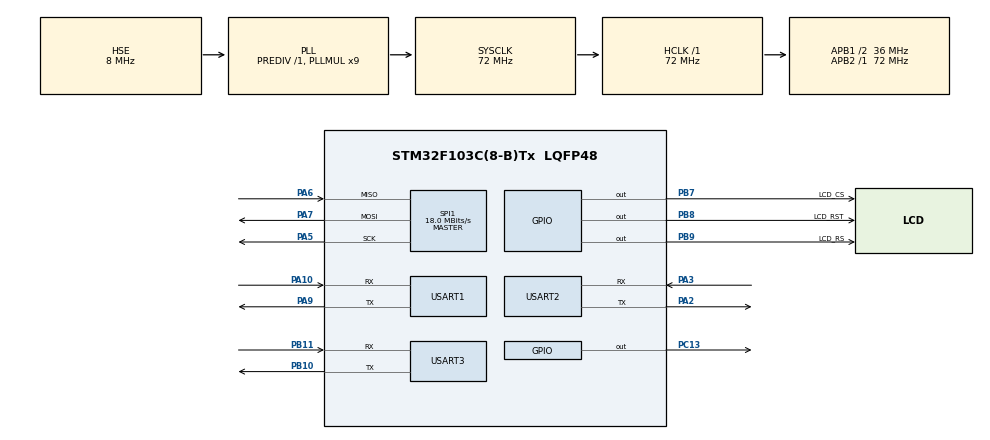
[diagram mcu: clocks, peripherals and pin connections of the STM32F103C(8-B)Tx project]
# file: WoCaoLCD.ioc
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Mcu.Family=STM32F1
Mcu.Name=STM32F103C(8-B)Tx
Mcu.Package=LQFP48
NVIC.PriorityGroup=NVIC_PRIORITYGROUP_4
NVIC.USART1_IRQn=true\:0\:0\:false\:false\:true\:true\:true
NVIC.USART2_IRQn=true\:0\:0\:false\:false\:true\:true\:true
NVIC.USART3_IRQn=true\:0\:0\:false\:false\:true\:true\:true
PA10.Mode=Asynchronous
PA10.Signal=USART1_RX
PA13.Mode=Serial_Wire
PA13.Signal=SYS_JTMS-SWDIO
PA14.Mode=Serial_Wire
PA14.Signal=SYS_JTCK-SWCLK
PA2.Mode=Asynchronous
PA2.Signal=USART2_TX
PA3.Mode=Asynchronous
PA3.Signal=USART2_RX
PA5.Mode=Full_Duplex_Master
PA5.Signal=SPI1_SCK
PA6.Mode=Full_Duplex_Master
PA6.Signal=SPI1_MISO
PA7.Mode=Full_Duplex_Master
PA7.Signal=SPI1_MOSI
PA9.Mode=Asynchronous
PA9.Signal=USART1_TX
PB10.Mode=Asynchronous
PB10.Signal=USART3_TX
PB11.Mode=Asynchronous
PB11.Signal=USART3_RX
PB7.GPIO_Label=LCD_CS
PB7.GPIO_Speed=GPIO_SPEED_FREQ_HIGH
PB7.Signal=GPIO_Output
PB8.GPIO_Label=LCD_RST
PB8.GPIO_Speed=GPIO_SPEED_FREQ_HIGH
PB8.Signal=GPIO_Output
PB9.GPIO_Label=LCD_RS
PB9.GPIO_Speed=GPIO_SPEED_FREQ_HIGH
PB9.Signal=GPIO_Output
PC13-TAMPER-RTC.GPIO_Speed=GPIO_SPEED_FREQ_HIGH
PC13-TAMPER-RTC.Signal=GPIO_Output
PD0-OSC_IN.Mode=HSE-External-Oscillator
PD0-OSC_IN.Signal=RCC_OSC_IN
PD1-OSC_OUT.Mode=HSE-External-Oscillator
PD1-OSC_OUT.Signal=RCC_OSC_OUT
ProjectManager.HeapSize=0x200
ProjectManager.StackSize=0x400
ProjectManager.TargetToolchain=STM32CubeIDE
RCC.AHBFreq_Value=72000000
RCC.APB1CLKDivider=RCC_HCLK_DIV2
RCC.APB1Freq_Value=36000000
RCC.APB1TimFreq_Value=72000000
RCC.APB2Freq_Value=72000000
RCC.APB2TimFreq_Value=72000000
RCC.HCLKFreq_Value=72000000
RCC.PLLMUL=RCC_PLL_MUL9
RCC.PLLSourceVirtual=RCC_PLLSOURCE_HSE
RCC.SYSCLKFreq_VALUE=72000000
RCC.SYSCLKSource=RCC_SYSCLKSOURCE_PLLCLK
RCC.USBFreq_Value=72000000
SPI1.BaudRatePrescaler=SPI_BAUDRATEPRESCALER_4
SPI1.CalculateBaudRate=18.0 MBits/s
SPI1.Direction=SPI_DIRECTION_2LINES
SPI1.Mode=SPI_MODE_MASTER
SPI1.VirtualType=VM_MASTER
USART1.VirtualMode=VM_ASYNC
USART2.VirtualMode=VM_ASYNC
USART3.VirtualMode=VM_ASYNC
board=custom

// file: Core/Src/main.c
/* USER CODE BEGIN Header */
/**
  ******************************************************************************
  * @file           : main.c
  * @brief          : Main program body
  ******************************************************************************
  * @attention
  *
  * Copyright (c) 2023 STMicroelectronics.
  * All rights reserved.
  *
  * This software is licensed under terms that can be found in the LICENSE file
  * in the root directory of this software component.
  * If no LICENSE file comes with this software, it is provided AS-IS.
  *
  ******************************************************************************
  */
#include "LCD_Driver.h"
#include "string.h"
/* USER CODE END Header */
#include "main.h"

SPI_HandleTypeDef hspi1;

UART_HandleTypeDef huart1;
UART_HandleTypeDef huart2;
UART_HandleTypeDef huart3;

void SystemClock_Config(void);
static void MX_GPIO_Init(void);
static void MX_SPI1_Init(void);
static void MX_USART1_UART_Init(void);
static void MX_USART2_UART_Init(void);
static void MX_USART3_UART_Init(void);

/* USER CODE BEGIN 0 */

void LCDShowQrcode(uint8_t data[])
{
    LCD_Draw_Number(10, 10, 2, data[0] - '0');
    LCD_Draw_Number(60, 10, 2, data[1] - '0');
    LCD_Draw_Number(110, 10, 2, data[2] - '0');
    LCD_Draw_Add_Char(160, 10, 2);
    LCD_Draw_Number(10, 100, 2, data[4] - '0');
    LCD_Draw_Number(60, 100, 2, data[5] - '0');
    LCD_Draw_Number(110, 100, 2, data[6] - '0');
}

uint8_t debugBuff[128] = {0};

uint8_t wifiRecvBuff[1] = {0};
uint8_t wifiBuff[1024] = {0};
int wifiOffset = 0;

void HAL_UART_RxCpltCallback(UART_HandleTypeDef* huart)
{
    if (huart->Instance == USART1) {
        HAL_GPIO_TogglePin(GPIOC, GPIO_PIN_13);
        HAL_UART_Transmit(huart, debugBuff, 1, 10);
        HAL_UART_Receive_IT(huart, debugBuff, 1);
    } else if (huart->Instance == USART2) {
        wifiBuff[wifiOffset++] = wifiRecvBuff[0];
        if (wifiRecvBuff[0] == '\n') {
            char* handle = strstr(wifiBuff, "WoCao");
            if (handle) {
                LCDShowQrcode(handle + 5);
            }
            HAL_UART_Transmit(&huart1, wifiBuff, wifiOffset, 10);
            wifiOffset = 0;
        }
        HAL_UART_Receive_IT(&huart2, wifiRecvBuff, 1);
    }
}

/* USER CODE END 0 */

int main(void)
{

  /* MCU Configuration--------------------------------------------------------*/

  /* Reset of all peripherals, Initializes the Flash interface and the Systick. */
  HAL_Init();

  /* Configure the system clock */
  SystemClock_Config();

  /* Initialize all configured peripherals */
  MX_GPIO_Init();
  MX_SPI1_Init();
  MX_USART1_UART_Init();
  MX_USART2_UART_Init();
  MX_USART3_UART_Init();
  /* USER CODE BEGIN 2 */

    HAL_UART_Receive_IT(&huart1, debugBuff, 1);
    HAL_UART_Receive_IT(&huart2, wifiRecvBuff, 1);

    LCD_Set_SPI_Handle(&hspi1);
  LCD_Init();
    LCD_Clear(LCD_COLOR_RED);

    {
        uint8_t cmd[] = "AT+CIPMUX=0\r\n";
        HAL_UART_Transmit(&huart2, cmd, strlen(cmd), 10);
        HAL_Delay(1000);
    }
    {
        uint8_t cmd[] = "AT+CIPMUX=1\r\n";
        HAL_UART_Transmit(&huart2, cmd, strlen(cmd), 10);
        HAL_Delay(1000);
    }
    {
        uint8_t cmd[] = "AT+CIPSERVER=1,8080\r\n";
        HAL_UART_Transmit(&huart2, cmd, strlen(cmd), 10);
        HAL_Delay(1000);
    }

  /* USER CODE END 2 */

  /* Infinite loop */
  while (1)
  {

  }
}

void SystemClock_Config(void)
{
  RCC_OscInitTypeDef RCC_OscInitStruct = {0};
  RCC_ClkInitTypeDef RCC_ClkInitStruct = {0};

  /** Initializes the RCC Oscillators according to the specified parameters
  * in the RCC_OscInitTypeDef structure.
  */
  RCC_OscInitStruct.OscillatorType = RCC_OSCILLATORTYPE_HSE;
  RCC_OscInitStruct.HSEState = RCC_HSE_ON;
  RCC_OscInitStruct.HSEPredivValue = RCC_HSE_PREDIV_DIV1;
  RCC_OscInitStruct.HSIState = RCC_HSI_ON;
  RCC_OscInitStruct.PLL.PLLState = RCC_PLL_ON;
  RCC_OscInitStruct.PLL.PLLSource = RCC_PLLSOURCE_HSE;
  RCC_OscInitStruct.PLL.PLLMUL = RCC_PLL_MUL9;
  if (HAL_RCC_OscConfig(&RCC_OscInitStruct) != HAL_OK)
  {
    Error_Handler();
  }
  /** Initializes the CPU, AHB and APB buses clocks
  */
  RCC_ClkInitStruct.ClockType = RCC_CLOCKTYPE_HCLK|RCC_CLOCKTYPE_SYSCLK
                              |RCC_CLOCKTYPE_PCLK1|RCC_CLOCKTYPE_PCLK2;
  RCC_ClkInitStruct.SYSCLKSource = RCC_SYSCLKSOURCE_PLLCLK;
  RCC_ClkInitStruct.AHBCLKDivider = RCC_SYSCLK_DIV1;
  RCC_ClkInitStruct.APB1CLKDivider = RCC_HCLK_DIV2;
  RCC_ClkInitStruct.APB2CLKDivider = RCC_HCLK_DIV1;

  if (HAL_RCC_ClockConfig(&RCC_ClkInitStruct, FLASH_LATENCY_2) != HAL_OK)
  {
    Error_Handler();
  }
}

static void MX_SPI1_Init(void)
{

  /* SPI1 parameter configuration*/
  hspi1.Instance = SPI1;
  hspi1.Init.Mode = SPI_MODE_MASTER;
  hspi1.Init.Direction = SPI_DIRECTION_2LINES;
  hspi1.Init.DataSize = SPI_DATASIZE_8BIT;
  hspi1.Init.CLKPolarity = SPI_POLARITY_LOW;
  hspi1.Init.CLKPhase = SPI_PHASE_1EDGE;
  hspi1.Init.NSS = SPI_NSS_SOFT;
  hspi1.Init.BaudRatePrescaler = SPI_BAUDRATEPRESCALER_4;
  hspi1.Init.FirstBit = SPI_FIRSTBIT_MSB;
  hspi1.Init.TIMode = SPI_TIMODE_DISABLE;
  hspi1.Init.CRCCalculation = SPI_CRCCALCULATION_DISABLE;
  hspi1.Init.CRCPolynomial = 10;
  if (HAL_SPI_Init(&hspi1) != HAL_OK)
  {
    Error_Handler();
  }

}

static void MX_USART1_UART_Init(void)
{

  huart1.Instance = USART1;
  huart1.Init.BaudRate = 115200;
  huart1.Init.WordLength = UART_WORDLENGTH_8B;
  huart1.Init.StopBits = UART_STOPBITS_1;
  huart1.Init.Parity = UART_PARITY_NONE;
  huart1.Init.Mode = UART_MODE_TX_RX;
  huart1.Init.HwFlowCtl = UART_HWCONTROL_NONE;
  huart1.Init.OverSampling = UART_OVERSAMPLING_16;
  if (HAL_UART_Init(&huart1) != HAL_OK)
  {
    Error_Handler();
  }

}

static void MX_USART2_UART_Init(void)
{

  huart2.Instance = USART2;
  huart2.Init.BaudRate = 115200;
  huart2.Init.WordLength = UART_WORDLENGTH_8B;
  huart2.Init.StopBits = UART_STOPBITS_1;
  huart2.Init.Parity = UART_PARITY_NONE;
  huart2.Init.Mode = UART_MODE_TX_RX;
  huart2.Init.HwFlowCtl = UART_HWCONTROL_NONE;
  huart2.Init.OverSampling = UART_OVERSAMPLING_16;
  if (HAL_UART_Init(&huart2) != HAL_OK)
  {
    Error_Handler();
  }

}

static void MX_USART3_UART_Init(void)
{

  huart3.Instance = USART3;
  huart3.Init.BaudRate = 115200;
  huart3.Init.WordLength = UART_WORDLENGTH_8B;
  huart3.Init.StopBits = UART_STOPBITS_1;
  huart3.Init.Parity = UART_PARITY_NONE;
  huart3.Init.Mode = UART_MODE_TX_RX;
  huart3.Init.HwFlowCtl = UART_HWCONTROL_NONE;
  huart3.Init.OverSampling = UART_OVERSAMPLING_16;
  if (HAL_UART_Init(&huart3) != HAL_OK)
  {
    Error_Handler();
  }

}

static void MX_GPIO_Init(void)
{
  GPIO_InitTypeDef GPIO_InitStruct = {0};

  /* GPIO Ports Clock Enable */
  __HAL_RCC_GPIOC_CLK_ENABLE();
  __HAL_RCC_GPIOD_CLK_ENABLE();
  __HAL_RCC_GPIOA_CLK_ENABLE();
  __HAL_RCC_GPIOB_CLK_ENABLE();

  /*Configure GPIO pin Output Level */
  HAL_GPIO_WritePin(GPIOC, GPIO_PIN_13, GPIO_PIN_RESET);

  /*Configure GPIO pin Output Level */
  HAL_GPIO_WritePin(GPIOB, GPIO_PIN_7|GPIO_PIN_8|GPIO_PIN_9, GPIO_PIN_RESET);

  /*Configure GPIO pin : PC13 */
  GPIO_InitStruct.Pin = GPIO_PIN_13;
  GPIO_InitStruct.Mode = GPIO_MODE_OUTPUT_PP;
  GPIO_InitStruct.Pull = GPIO_NOPULL;
  GPIO_InitStruct.Speed = GPIO_SPEED_FREQ_HIGH;
  HAL_GPIO_Init(GPIOC, &GPIO_InitStruct);

  /*Configure GPIO pins : PB7 PB8 PB9 */
  GPIO_InitStruct.Pin = GPIO_PIN_7|GPIO_PIN_8|GPIO_PIN_9;
  GPIO_InitStruct.Mode = GPIO_MODE_OUTPUT_PP;
  GPIO_InitStruct.Pull = GPIO_NOPULL;
  GPIO_InitStruct.Speed = GPIO_SPEED_FREQ_HIGH;
  HAL_GPIO_Init(GPIOB, &GPIO_InitStruct);

}

void Error_Handler(void)
{
  __disable_irq();
  while (1)
  {
  }
}
